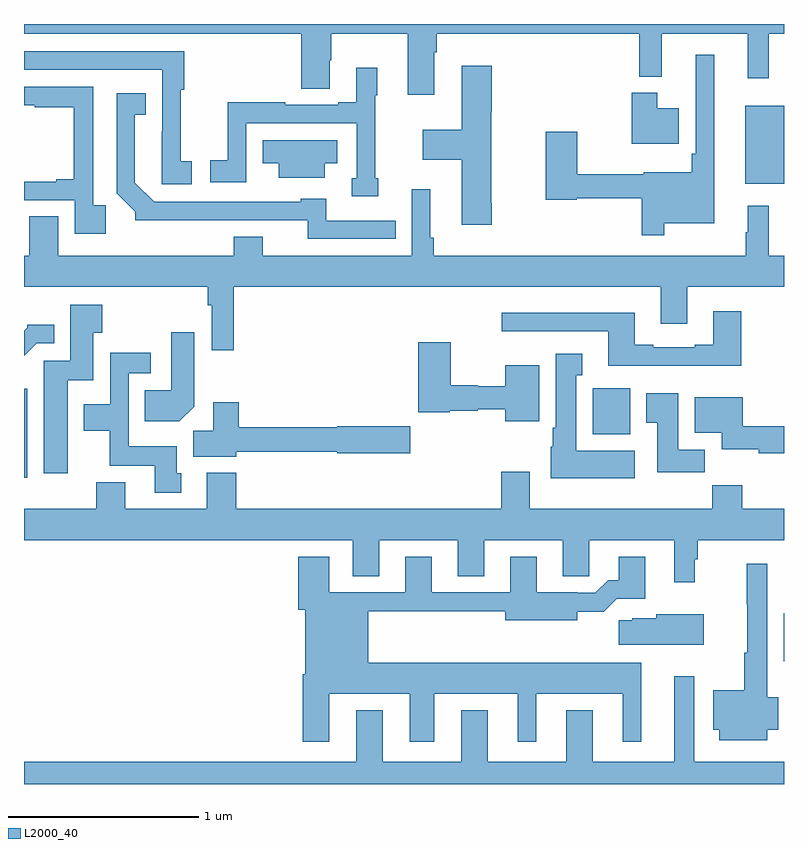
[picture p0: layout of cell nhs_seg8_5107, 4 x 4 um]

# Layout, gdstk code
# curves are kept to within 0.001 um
import gdstk
lib = gdstk.Library(unit=1e-6, precision=1e-09)
def R(c, l, rs):  # rectangles x0, y0, x1, y1
    for r in rs: c.add(gdstk.rectangle(r[:2], r[2:], *l))
def P(c, l, *ps):  # polygons
    for p in ps: c.add(gdstk.Polygon(p, *l))
L2000_40 = (2000, 40)

nhs_seg8_5107 = lib.new_cell('nhs_seg8_5107')
R(nhs_seg8_5107, L2000_40, [(422.999,1098.545,423,1098.799), (419,1099.512,419.017,1099.981), (421.994,1099.742,422.191,1099.984), (422.795,1101.059,423,1101.469)])
P(nhs_seg8_5107, L2000_40, [(421.159,1101.752),(421.172,1101.752),(421.172,1101.848),(422.239,1101.848),(422.239,1101.623),(422.357,1101.623),(422.357,1101.848),(422.81,1101.848),(422.81,1101.615),(422.92,1101.615),(422.92,1101.848),(423,1101.848),(423,1101.9),(419,1101.9),(419,1101.848),(420.458,1101.848),(420.458,1101.559),(420.61,1101.559),(420.61,1101.71),(420.618,1101.71),(420.618,1101.848),(421.019,1101.848),(421.019,1101.528),(421.159,1101.528)],
  [(419.884,1101.177),(419.826,1101.177),(419.826,1101.553),(419.843,1101.553),(419.843,1101.756),(419,1101.756),(419,1101.66),(419.727,1101.66),(419.727,1101.332),(419.726,1101.332),(419.726,1101.057),(419.884,1101.057)],
  [(422.371,1100.852),(422.632,1100.852),(422.632,1101.739),(422.535,1101.739),(422.535,1101.217),(422.515,1101.217),(422.515,1101.121),(422.261,1101.121),(422.261,1101.11),(421.912,1101.11),(421.912,1101.334),(421.747,1101.334),(421.747,1100.974),(421.908,1100.974),(421.908,1100.982),(422.25,1100.982),(422.25,1100.787),(422.371,1100.787)],
  [(421.463,1100.956),(421.458,1100.956),(421.458,1101.439),(421.463,1101.439),(421.463,1101.679),(421.304,1101.679),(421.304,1101.343),(421.098,1101.343),(421.098,1101.185),(421.304,1101.185),(421.304,1100.844),(421.463,1100.844)],
  [(420.865,1101.087),(420.849,1101.087),(420.849,1101.525),(420.859,1101.525),(420.859,1101.67),(420.749,1101.67),(420.749,1101.487),(420.653,1101.487),(420.653,1101.474),(420.374,1101.474),(420.374,1101.487),(420.073,1101.487),(420.073,1101.182),(419.979,1101.182),(419.979,1101.066),(420.171,1101.066),(420.171,1101.378),(420.75,1101.378),(420.75,1101.087),(420.725,1101.087),(420.725,1100.993),(420.865,1100.993)],
  [(419.429,1100.947),(419.364,1100.947),(419.364,1101.57),(419,1101.57),(419,1101.473),(419.057,1101.473),(419.057,1101.462),(419.263,1101.462),(419.263,1101.082),(419.171,1101.082),(419.171,1101.069),(419,1101.069),(419,1100.973),(419.268,1100.973),(419.268,1100.796),(419.429,1100.796)],
  [(422.446,1101.457),(422.332,1101.457),(422.332,1101.538),(422.198,1101.538),(422.198,1101.269),(422.446,1101.269)],
  [(420.956,1100.865),(420.592,1100.865),(420.592,1100.98),(420.456,1100.98),(420.456,1100.964),(419.685,1100.964),(419.584,1101.065),(419.584,1101.422),(419.642,1101.422),(419.642,1101.535),(419.487,1101.535),(419.487,1101.01),(419.586,1100.911),(419.586,1100.867),(420.493,1100.868),(420.493,1100.769),(420.956,1100.769)],
  [(420.583,1101.167),(420.649,1101.167),(420.649,1101.289),(420.256,1101.289),(420.256,1101.167),(420.341,1101.167),(420.341,1101.092),(420.583,1101.092)],
  [(420.104,1100.516),(422.351,1100.516),(422.351,1100.322),(422.491,1100.322),(422.491,1100.516),(423,1100.516),(423,1100.68),(422.92,1100.68),(422.92,1100.944),(422.81,1100.944),(422.81,1100.804),(422.799,1100.804),(422.799,1100.68),(421.157,1100.68),(421.157,1100.776),(421.138,1100.776),(421.138,1101.031),(421.041,1101.031),(421.041,1100.68),(420.256,1100.68),(420.256,1100.779),(420.104,1100.779),(420.104,1100.68),(419.179,1100.68),(419.179,1100.888),(419.027,1100.888),(419.027,1100.68),(419,1100.68),(419,1100.516),(419.968,1100.516),(419.968,1100.42),(419.988,1100.42),(419.988,1100.184),(420.104,1100.184)],
  [(419.23,1100.024),(419.365,1100.024),(419.365,1100.275),(419.412,1100.275),(419.412,1100.422),(419.243,1100.422),(419.243,1100.127),(419.105,1100.127),(419.105,1099.536),(419.23,1099.536)],
  [(422.775,1100.389),(422.627,1100.389),(422.627,1100.212),(422.531,1100.212),(422.531,1100.199),(422.311,1100.199),(422.311,1100.212),(422.215,1100.212),(422.215,1100.38),(421.515,1100.38),(421.515,1100.283),(422.075,1100.283),(422.075,1100.102),(422.775,1100.102)],
  [(419.067,1100.22),(419.158,1100.22),(419.158,1100.317),(419.016,1100.317),(419.016,1100.302),(419,1100.286),(419,1100.153)],
  [(419.896,1099.886),(419.896,1100.278),(419.774,1100.278),(419.774,1099.972),(419.635,1099.972),(419.635,1099.808),(419.818,1099.808)],
  [(421.711,1100.104),(421.532,1100.104),(421.532,1099.993),(421.389,1099.993),(421.389,1100),(421.246,1100),(421.246,1100.224),(421.076,1100.224),(421.076,1099.856),(421.242,1099.856),(421.242,1099.864),(421.389,1099.864),(421.389,1099.872),(421.532,1099.872),(421.532,1099.808),(421.711,1099.808)],
  [(419.827,1099.536),(419.803,1099.536),(419.803,1099.678),(419.55,1099.678),(419.55,1100.061),(419.668,1100.061),(419.668,1100.17),(419.454,1100.17),(419.454,1099.9),(419.315,1099.9),(419.315,1099.76),(419.452,1099.76),(419.452,1099.574),(419.687,1099.574),(419.687,1099.434),(419.827,1099.434)],
  [(422.215,1099.654),(421.906,1099.654),(421.906,1100.051),(421.939,1100.051),(421.939,1100.164),(421.799,1100.164),(421.799,1099.774),(421.784,1099.774),(421.784,1099.674),(421.772,1099.674),(421.772,1099.508),(422.215,1099.508)],
  [(422.582,1099.66),(422.443,1099.66),(422.443,1099.957),(422.276,1099.957),(422.276,1099.801),(422.333,1099.801),(422.333,1099.542),(422.582,1099.542)],
  [(423,1099.784),(422.782,1099.784),(422.782,1099.936),(422.531,1099.936),(422.531,1099.748),(422.672,1099.748),(422.672,1099.661),(422.868,1099.661),(422.868,1099.642),(423,1099.642)],
  [(420.118,1099.65),(420.648,1099.65),(420.648,1099.642),(421.033,1099.642),(421.033,1099.784),(420.648,1099.784),(420.648,1099.778),(420.131,1099.778),(420.131,1099.909),(419.996,1099.909),(419.996,1099.76),(419.891,1099.76),(419.891,1099.622),(420.118,1099.622)],
  [(419.963,1099.537),(419.963,1099.348),(419.533,1099.348),(419.533,1099.489),(419.381,1099.489),(419.381,1099.348),(419,1099.348),(419,1099.184),(420.731,1099.184),(420.731,1098.994),(420.871,1098.994),(420.871,1099.184),(421.283,1099.184),(421.283,1098.994),(421.423,1098.994),(421.423,1099.184),(421.835,1099.184),(421.835,1098.994),(421.974,1098.994),(421.974,1099.184),(422.423,1099.184),(422.423,1098.963),(422.53,1098.963),(422.53,1099.082),(422.545,1099.082),(422.545,1099.184),(423,1099.184),(423,1099.348),(422.78,1099.348),(422.78,1099.472),(422.623,1099.472),(422.623,1099.348),(421.663,1099.348),(421.663,1099.543),(421.511,1099.543),(421.511,1099.348),(420.116,1099.348),(420.116,1099.537)],
  [(420.607,1098.374),(421.031,1098.374),(421.031,1098.123),(421.159,1098.123),(421.159,1098.374),(421.598,1098.374),(421.598,1098.123),(421.696,1098.123),(421.696,1098.374),(422.15,1098.374),(422.15,1098.123),(422.248,1098.123),(422.248,1098.538),(420.811,1098.538),(420.811,1098.808),(421.532,1098.808),(421.532,1098.761),(421.912,1098.761),(421.912,1098.806),(422.051,1098.806),(422.121,1098.876),(422.269,1098.876),(422.269,1099.096),(422.129,1099.096),(422.129,1098.973),(422.074,1098.973),(422.007,1098.906),(421.913,1098.906),(421.913,1098.909),(421.699,1098.909),(421.699,1099.096),(421.559,1099.096),(421.559,1098.909),(421.147,1098.909),(421.147,1099.096),(421.007,1099.096),(421.007,1098.909),(420.607,1098.909),(420.607,1099.096),(420.443,1099.096),(420.443,1098.816),(420.479,1098.816),(420.479,1098.478),(420.467,1098.478),(420.467,1098.123),(420.607,1098.123)],
  [(422.911,1098.185),(422.971,1098.185),(422.971,1098.356),(422.911,1098.356),(422.911,1099.06),(422.805,1099.06),(422.805,1098.847),(422.807,1098.847),(422.807,1098.59),(422.79,1098.59),(422.79,1098.394),(422.627,1098.394),(422.627,1098.185),(422.66,1098.185),(422.66,1098.131),(422.911,1098.131)],
  [(422.578,1098.793),(422.328,1098.793),(422.328,1098.772),(422.202,1098.772),(422.202,1098.761),(422.13,1098.761),(422.13,1098.632),(422.578,1098.632)],
  [(423,1098.016),(422.527,1098.016),(422.527,1098.466),(422.423,1098.466),(422.423,1098.016),(421.993,1098.016),(421.993,1098.289),(421.853,1098.289),(421.853,1098.016),(421.441,1098.016),(421.441,1098.289),(421.301,1098.289),(421.301,1098.016),(420.889,1098.016),(420.889,1098.289),(420.749,1098.289),(420.749,1098.016),(419,1098.016),(419,1097.9),(423,1097.9)])

lib.write_gds('nhs_seg8_5107.gds')
